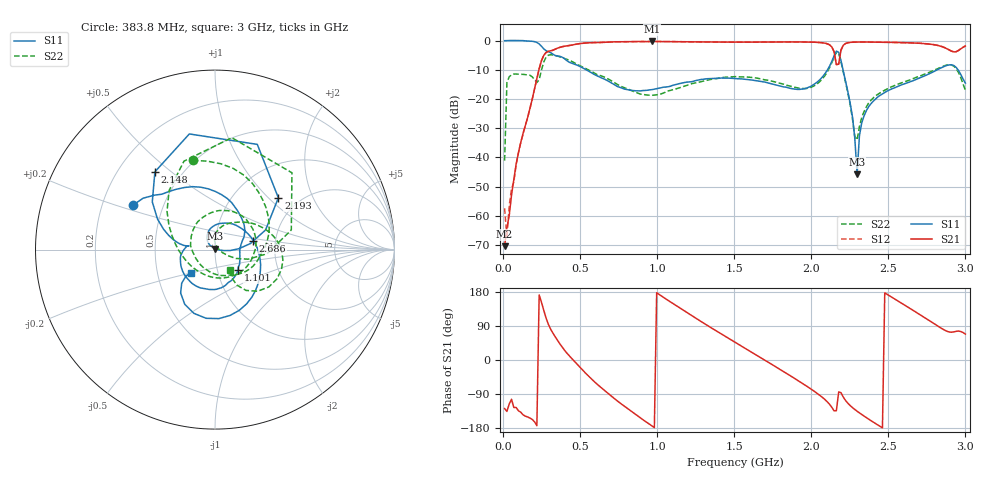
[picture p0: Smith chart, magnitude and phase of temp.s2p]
!Agilent Technologies,N5244A,MY52441742,A.10.20.02
!Agilent N5244A: A.10.20.02
!Date: Friday, December 11, 2020 09:46:25
!Correction: S11(Full 2 Port(1,2))
!S21(Full 2 Port(1,2))
!S12(Full 2 Port(1,2))
!S22(Full 2 Port(1,2))
!S2P File: Measurements: S11, S21, S12, S22:
# Hz S  dB  R 50
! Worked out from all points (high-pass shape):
!   201 points, 10 MHz to 3 GHz, reference 50 ohm
!   highest |S21| = -0.29 dB at 966.8 MHz (marker M1); lowest = -70.4 dB at 10 MHz (marker M2)
!   |S21| within 3 dB of the highest: 322.8 MHz to 2.143 GHz (1.821 GHz wide, 148 % of centre); 2.193 GHz to 2.898 GHz (705.7 MHz wide, 27.7 % of centre)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
!   lowest |S11| = -45.7 dB at 2.297 GHz (marker M3), VSWR 1.01, Z = 49.9 + j0.512 ohm
!   |S11| at or under -10 dB: 540.1 MHz to 2.105 GHz (1.565 GHz wide, 118 % of centre); 2.206 GHz to 2.817 GHz (610.6 MHz wide, 24.3 % of centre); 2.952 GHz to end of sweep
!   |S22| runs from -41.1 to -4.0 dB; largest |S21 - S12| = 0.0027
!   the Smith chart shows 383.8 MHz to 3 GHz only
!   S11 on the Smith chart (normalised r, x): 383.8 MHz: 0.33, +0.23; 1.101 GHz: 1.25, -0.30; 2.148 GHz: 0.36, +0.44; 2.193 GHz: 1.58, +1.15; 2.686 GHz: 1.53, +0.16; 3 GHz: 0.74, -0.20
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1e7  -0.02 -5.4  -70.40 -128.0  -57.41 150.3  -41.08 15.2
2.495e7  0.01 -12.7  -64.04 -135.7  -67.65 130.5  -14.38 -77.4
3.99e7  0.04 -19.5  -59.95 -116.0  -56.58 -126.1  -12.37 -81.7
1.595e8  -0.13 -84.8  -26.34 -150.3  -26.35 -150.3  -11.70 150.0
2.492e8  -1.92 -154.5  -6.87 152.4  -6.85 152.4  -10.09 -81.5
2.9405e8  -3.79 -173.6  -3.67 94.1  -3.68 94.0  -4.97 -177.5
3.8375e8  -5.68 151.7  -2.08 33.9  -2.08 33.9  -5.81 104.0
5.183e8  -9.37 96.1  -0.90 -27.6  -0.88 -27.6  -9.09 32.8
7.1265e8  -14.78 26.3  -0.41 -98.5  -0.41 -98.6  -14.08 -41.6
9.668e8  -16.78 -17.5  -0.29 -174.1  -0.28 -174.2  -18.72 -147.2
1.01165e9  -16.34 -25.5  -0.30 173.2  -0.29 173.3  -18.44 -165.3
1.10135e9  -15.30 -41.9  -0.34 149.2  -0.34 149.2  -16.84 159.4
1.505e9  -13.00 -130.7  -0.52 46.8  -0.51 46.7  -12.33 43.9
1.75915e9  -15.01 -177.9  -0.46 -15.4  -0.45 -15.4  -14.06 -31.5
2.0133e9  -15.11 172.4  -0.53 -80.8  -0.52 -80.8  -15.63 -151.6
2.14785e9  -5.23 127.7  -3.77 -134.1  -3.76 -134.1  -5.64 109.3
2.1927e9  -6.82 39.3  -3.23 -86.4  -3.23 -86.3  -7.15 14.4
2.29735e9  -45.73 97.4  -0.49 -135.3  -0.48 -135.3  -34.00 60.5
2.3422e9  -25.80 135.2  -0.47 -148.0  -0.46 -148.1  -24.32 92.4
2.50665e9  -16.89 84.1  -0.58 169.6  -0.57 169.5  -16.16 65.7
2.68605e9  -13.20 13.4  -0.86 124.6  -0.85 124.5  -12.49 39.3
3e9  -14.54 -136.0  -1.83 68.3  -1.82 68.3  -17.02 -53.7
